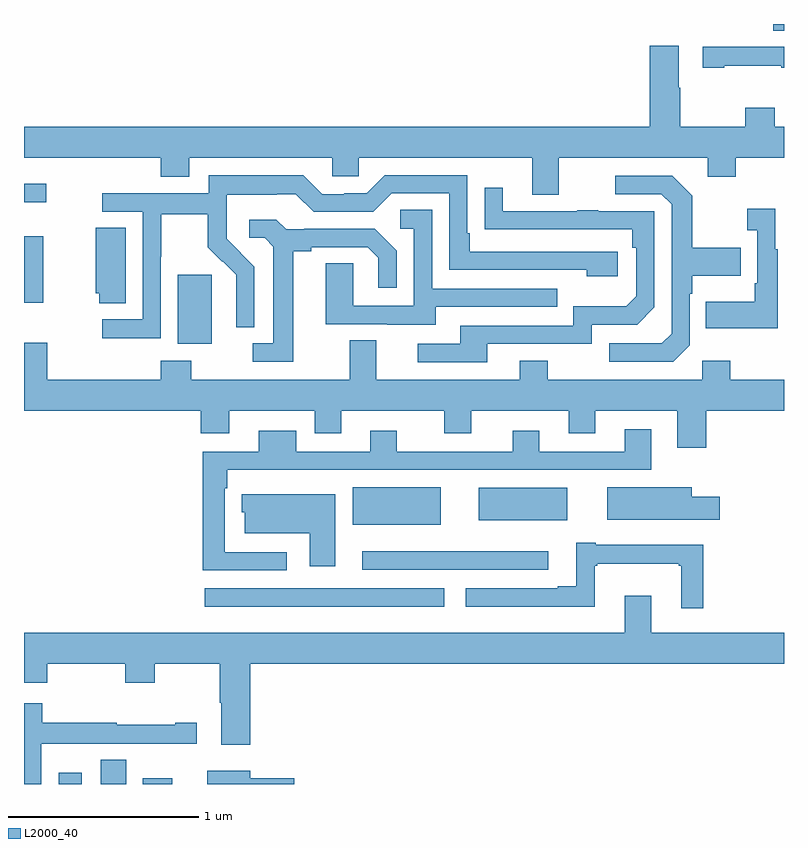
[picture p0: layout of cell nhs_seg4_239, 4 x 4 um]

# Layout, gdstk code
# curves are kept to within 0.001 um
import gdstk
lib = gdstk.Library(unit=1e-6, precision=1e-09)
def R(c, l, rs):  # rectangles x0, y0, x1, y1
    for r in rs: c.add(gdstk.rectangle(r[:2], r[2:], *l))
def P(c, l, *ps):  # polygons
    for p in ps: c.add(gdstk.Polygon(p, *l))
L2000_40 = (2000, 40)

nhs_seg4_239 = lib.new_cell('nhs_seg4_239')
R(nhs_seg4_239, L2000_40, [(123.182,750.9,123.304,750.958), (123.404,750.9,123.538,751.028), (123.626,750.9,123.781,750.931), (123.951,751.832,125.212,751.929), (124.779,752.028,125.758,752.125), (124.73,752.264,125.194,752.461), (125.394,752.288,125.86,752.458), (123.809,753.218,123.988,753.579), (123,753.432,123.1,753.784), (123,753.963,123.118,754.06), (126.944,754.864,127,754.9), (126.042,754.898,126.154,754.9)])
P(nhs_seg4_239, L2000_40, [(125.815,754.196),(126.599,754.196),(126.599,754.097),(126.747,754.097),(126.747,754.196),(127,754.196),(127,754.36),(126.951,754.36),(126.951,754.459),(126.796,754.459),(126.796,754.36),(126.453,754.36),(126.453,754.565),(126.445,754.565),(126.445,754.786),(126.293,754.786),(126.293,754.36),(123,754.36),(123,754.196),(123.719,754.196),(123.719,754.097),(123.871,754.097),(123.871,754.196),(124.623,754.196),(124.623,754.098),(124.761,754.098),(124.761,754.196),(125.675,754.196),(125.675,754.002),(125.815,754.002)],
  [(126.685,754.681),(126.986,754.681),(126.986,754.671),(127,754.671),(127,754.779),(126.848,754.779),(126.848,754.781),(126.573,754.781),(126.573,754.671),(126.685,754.671)],
  [(123.624,753.912),(123.624,753.345),(123.411,753.345),(123.411,753.247),(123.72,753.247),(123.72,753.676),(123.723,753.676),(123.723,753.9),(123.967,753.9),(123.967,753.725),(124.044,753.648),(124.047,753.651),(124.118,753.581),(124.118,753.458),(124.116,753.458),(124.116,753.304),(124.212,753.304),(124.212,753.622),(124.066,753.77),(124.066,753.867),(124.068,753.867),(124.068,754.001),(124.331,754.001),(124.331,754.005),(124.431,754.005),(124.524,753.912),(124.839,753.912),(124.935,754.008),(125.238,754.008),(125.238,753.606),(125.963,753.606),(125.963,753.572),(126.124,753.572),(126.124,753.702),(125.347,753.702),(125.347,753.799),(125.334,753.799),(125.334,754.104),(124.899,754.104),(124.803,754.008),(124.685,754.008),(124.685,754.005),(124.569,754.005),(124.469,754.105),(123.972,754.105),(123.972,754.008),(123.411,754.008),(123.411,753.912)],
  [(126.504,753.21),(126.504,753.479),(126.517,753.479),(126.517,753.575),(126.773,753.575),(126.773,753.723),(126.517,753.723),(126.517,753.995),(126.411,754.101),(126.111,754.101),(126.111,754.005),(126.354,754.005),(126.408,753.951),(126.408,753.27),(126.357,753.219),(126.081,753.219),(126.081,753.123),(126.417,753.123)],
  [(125.437,753.216),(125.988,753.216),(125.988,753.318),(126.228,753.318),(126.318,753.408),(126.318,753.915),(126.023,753.915),(126.023,753.92),(125.911,753.92),(125.911,753.915),(125.521,753.915),(125.521,754.039),(125.425,754.039),(125.425,753.82),(126.202,753.819),(126.202,753.722),(126.222,753.722),(126.222,753.468),(126.169,753.415),(125.892,753.415),(125.892,753.312),(125.297,753.312),(125.297,753.216),(125.073,753.216),(125.073,753.12),(125.437,753.12)],
  [(126.967,753.715),(126.955,753.715),(126.955,753.928),(126.807,753.928),(126.807,753.815),(126.858,753.815),(126.858,753.535),(126.846,753.535),(126.846,753.439),(126.589,753.439),(126.589,753.299),(126.967,753.299)],
  [(125.167,753.411),(125.807,753.411),(125.807,753.507),(125.148,753.507),(125.148,753.923),(124.98,753.923),(124.98,753.822),(125.052,753.822),(125.052,753.417),(124.734,753.417),(124.734,753.641),(124.589,753.641),(124.589,753.321),(124.913,753.321),(124.913,753.317),(125.167,753.317)],
  [(124.417,753.704),(124.513,753.704),(124.513,753.726),(124.808,753.726),(124.865,753.669),(124.865,753.513),(124.962,753.513),(124.962,753.706),(124.846,753.822),(124.474,753.822),(124.474,753.819),(124.38,753.819),(124.328,753.871),(124.185,753.871),(124.185,753.774),(124.266,753.774),(124.313,753.727),(124.313,753.219),(124.203,753.219),(124.203,753.123),(124.417,753.123)],
  [(123.535,753.827),(123.377,753.827),(123.377,753.483),(123.397,753.483),(123.397,753.43),(123.535,753.43)],
  [(126.59,752.864),(127,752.864),(127,753.028),(126.717,753.028),(126.717,753.127),(126.57,753.127),(126.57,753.028),(125.757,753.028),(125.757,753.127),(125.609,753.127),(125.609,753.028),(124.855,753.028),(124.855,753.236),(124.715,753.236),(124.715,753.028),(123.879,753.028),(123.879,753.127),(123.719,753.127),(123.719,753.028),(123.122,753.028),(123.122,753.223),(123,753.223),(123,752.864),(123.929,752.864),(123.929,752.747),(124.081,752.747),(124.081,752.864),(124.529,752.864),(124.529,752.747),(124.669,752.747),(124.669,752.864),(125.213,752.864),(125.213,752.747),(125.353,752.747),(125.353,752.864),(125.867,752.864),(125.867,752.747),(126.007,752.747),(126.007,752.864),(126.437,752.864),(126.437,752.67),(126.59,752.67)],
  [(124.384,752.121),(124.056,752.121),(124.056,752.456),(124.071,752.456),(124.071,752.553),(126.301,752.553),(126.301,752.767),(126.161,752.767),(126.161,752.649),(125.713,752.649),(125.713,752.758),(125.573,752.758),(125.573,752.649),(124.963,752.649),(124.963,752.758),(124.823,752.758),(124.823,752.649),(124.432,752.649),(124.432,752.758),(124.235,752.758),(124.235,752.649),(123.94,752.649),(123.94,752.025),(124.384,752.025)],
  [(126.661,752.413),(126.514,752.413),(126.514,752.461),(126.071,752.461),(126.071,752.291),(126.661,752.291)],
  [(124.639,752.425),(124.249,752.425),(124.249,752.424),(124.146,752.424),(124.146,752.331),(124.163,752.331),(124.163,752.219),(124.505,752.219),(124.505,752.046),(124.639,752.046)],
  [(126.575,752.158),(126.01,752.158),(126.01,752.17),(125.906,752.17),(125.906,751.942),(125.81,751.942),(125.81,751.929),(125.325,751.929),(125.325,751.832),(126.004,751.832),(126.004,752.049),(126.016,752.049),(126.016,752.06),(126.447,752.06),(126.447,752.049),(126.458,752.049),(126.458,751.824),(126.575,751.824)],
  [(124.19,751.532),(127,751.532),(127,751.696),(126.301,751.696),(126.301,751.891),(126.161,751.891),(126.161,751.696),(123,751.696),(123,751.433),(123.123,751.433),(123.123,751.532),(123.532,751.532),(123.532,751.433),(123.687,751.433),(123.687,751.532),(124.03,751.532),(124.03,751.328),(124.037,751.328),(124.037,751.107),(124.19,751.107)],
  [(123.09,751.112),(123.3,751.112),(123.3,751.113),(123.634,751.113),(123.634,751.112),(123.91,751.112),(123.91,751.222),(123.797,751.222),(123.797,751.212),(123.488,751.212),(123.488,751.222),(123.095,751.222),(123.095,751.324),(123,751.324),(123,750.9),(123.09,750.9)],
  [(124.423,750.929),(124.192,750.929),(124.192,750.97),(123.965,750.97),(123.965,750.9),(124.423,750.9)])

lib.write_gds('nhs_seg4_239.gds')
